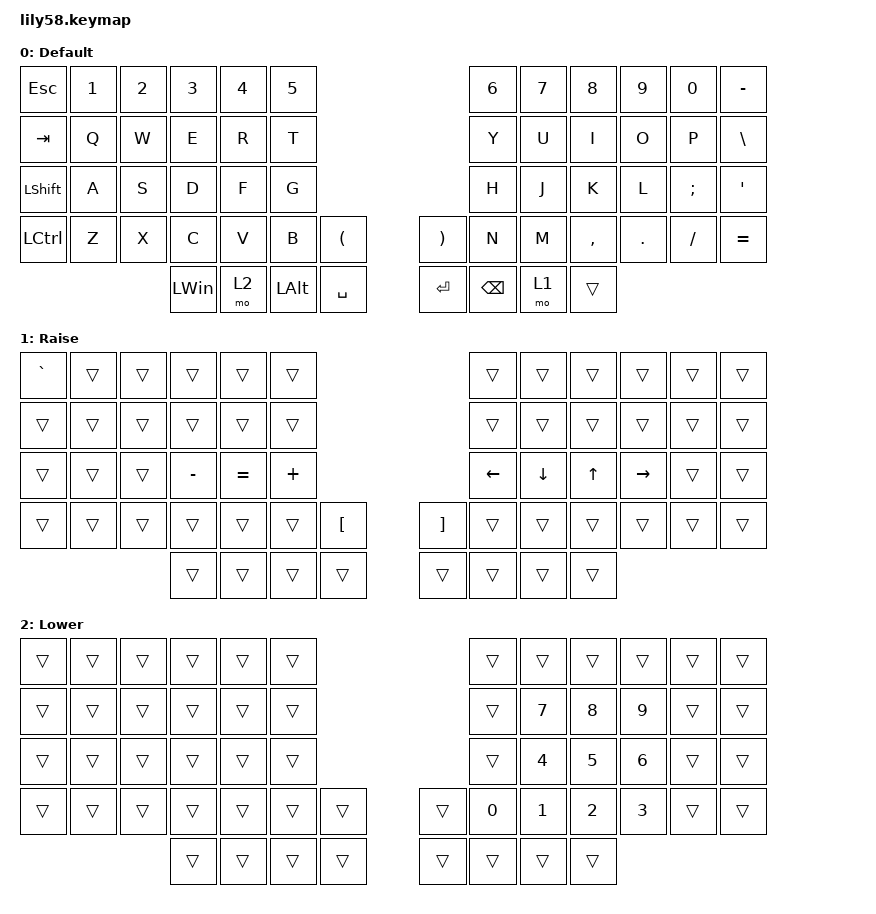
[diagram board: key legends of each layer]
/*
 * Copyright (c) 2020 The ZMK Contributors
 *
 * SPDX-License-Identifier: MIT
 */

#include <behaviors.dtsi>
#include <dt-bindings/zmk/keys.h>

/ {
    keymap {
        compatible = "zmk,keymap";

        Default {
            bindings = <
&kp ESC         &kp N1  &kp N2  &kp N3        &kp N4  &kp N5                                                       &kp N6         &kp N7  &kp N8     &kp N9   &kp N0    &kp MINUS
&kp TAB         &kp Q   &kp W   &kp E         &kp R   &kp T                                                        &kp Y          &kp U   &kp I      &kp O    &kp P     &kp BSLH
&kp LEFT_SHIFT  &kp A   &kp S   &kp D         &kp F   &kp G                                                        &kp H          &kp J   &kp K      &kp L    &kp SEMI  &kp SQT
&kp LCTRL       &kp Z   &kp X   &kp C         &kp V   &kp B         &kp LEFT_PARENTHESIS    &kp RIGHT_PARENTHESIS  &kp N          &kp M   &kp COMMA  &kp DOT  &kp FSLH  &kp EQUAL
                                &kp LEFT_WIN  &mo 2   &kp LEFT_ALT  &kp SPACE               &kp RET                &kp BACKSPACE  &mo 1   &trans
            >;
        };

        Raise {
            bindings = <
&kp GRAVE  &trans  &trans  &trans     &trans     &trans                          &trans    &trans    &trans  &trans     &trans  &trans
&trans     &trans  &trans  &trans     &trans     &trans                          &trans    &trans    &trans  &trans     &trans  &trans
&trans     &trans  &trans  &kp MINUS  &kp EQUAL  &kp PLUS                        &kp LEFT  &kp DOWN  &kp UP  &kp RIGHT  &trans  &trans
&trans     &trans  &trans  &trans     &trans     &trans    &kp LBKT    &kp RBKT  &trans    &trans    &trans  &trans     &trans  &trans
                           &trans     &trans     &trans    &trans      &trans    &trans    &trans    &trans
            >;
        };

        Lower {
            bindings = <
&trans  &trans  &trans  &trans  &trans  &trans                    &trans  &trans  &trans  &trans  &trans  &trans
&trans  &trans  &trans  &trans  &trans  &trans                    &trans  &kp N7  &kp N8  &kp N9  &trans  &trans
&trans  &trans  &trans  &trans  &trans  &trans                    &trans  &kp N4  &kp N5  &kp N6  &trans  &trans
&trans  &trans  &trans  &trans  &trans  &trans  &trans    &trans  &kp N0  &kp N1  &kp N2  &kp N3  &trans  &trans
                        &trans  &trans  &trans  &trans    &trans  &trans  &trans  &trans
            >;
        };
    };
};
